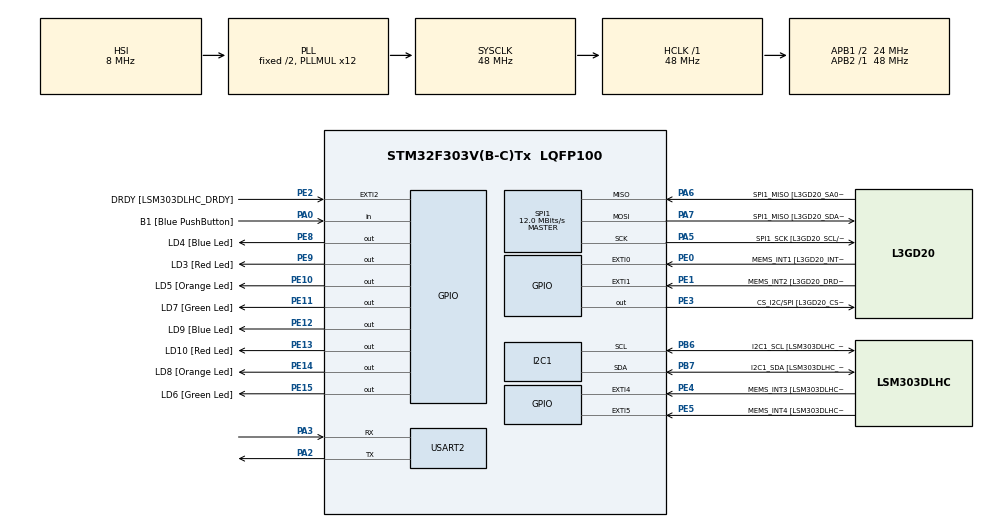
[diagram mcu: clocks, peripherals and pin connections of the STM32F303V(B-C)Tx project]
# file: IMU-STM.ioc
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Mcu.Family=STM32F3
Mcu.Name=STM32F303V(B-C)Tx
Mcu.Package=LQFP100
NVIC.PriorityGroup=NVIC_PRIORITYGROUP_0
NVIC.USART2_IRQn=true\:0\:0\:false\:false\:true\:true\:true
PA0.GPIO_Label=B1 [Blue PushButton]
PA0.GPIO_Mode=GPIO_MODE_INPUT
PA0.GPIO_PuPd=GPIO_NOPULL
PA0.Signal=GPIO_Input
PA11.GPIO_Label=DM
PA11.Signal=USB_DM
PA12.GPIO_Label=DP
PA12.Signal=USB_DP
PA13.GPIO_Label=SWDIO
PA13.Signal=SYS_JTMS-SWDIO
PA14.GPIO_Label=SWCLK
PA14.Signal=SYS_JTCK-SWCLK
PA2.Mode=Asynchronous
PA2.Signal=USART2_TX
PA3.Mode=Asynchronous
PA3.Signal=USART2_RX
PA5.GPIO_Label=SPI1_SCK [L3GD20_SCL/SPC]
PA5.GPIO_Mode=GPIO_MODE_AF_PP
PA5.GPIO_PuPd=GPIO_NOPULL
PA5.GPIO_Speed=GPIO_SPEED_FREQ_LOW
PA5.Mode=Full_Duplex_Master
PA5.Signal=SPI1_SCK
PA6.GPIO_Label=SPI1_MISO [L3GD20_SA0/SDO]
PA6.GPIO_Mode=GPIO_MODE_AF_PP
PA6.GPIO_PuPd=GPIO_NOPULL
PA6.GPIO_Speed=GPIO_SPEED_FREQ_LOW
PA6.Mode=Full_Duplex_Master
PA6.Signal=SPI1_MISO
PA7.GPIO_Label=SPI1_MISO [L3GD20_SDA/SDI/SDO]
PA7.GPIO_Mode=GPIO_MODE_AF_PP
PA7.GPIO_PuPd=GPIO_NOPULL
PA7.GPIO_Speed=GPIO_SPEED_FREQ_LOW
PA7.Mode=Full_Duplex_Master
PA7.Signal=SPI1_MOSI
PB3.GPIO_Label=SWO
PB3.Signal=SYS_JTDO-TRACESWO
PB6.GPIO_FM6=__NULL
PB6.GPIO_Label=I2C1_SCL [LSM303DLHC_SCL]
PB6.GPIO_Mode=GPIO_MODE_AF_OD
PB6.GPIO_PuPd=GPIO_NOPULL
PB6.GPIO_Speed=GPIO_SPEED_FREQ_LOW
PB6.Mode=I2C
PB6.Signal=I2C1_SCL
PB7.GPIO_FM7=__NULL
PB7.GPIO_Label=I2C1_SDA [LSM303DLHC_SDA]
PB7.GPIO_Mode=GPIO_MODE_AF_OD
PB7.GPIO_PuPd=GPIO_NOPULL
PB7.GPIO_Speed=GPIO_SPEED_FREQ_LOW
PB7.Mode=I2C
PB7.Signal=I2C1_SDA
PC14-OSC32_IN.GPIO_Label=OSC32_IN
PC14-OSC32_IN.Signal=RCC_OSC32_IN
PC15-OSC32_OUT.GPIO_Label=OSC32_OUT
PC15-OSC32_OUT.Signal=RCC_OSC32_OUT
PE0.GPIO_Label=MEMS_INT1 [L3GD20_INT1]
PE0.GPIO_ModeDefaultEXTI=GPIO_MODE_EVT_RISING
PE0.GPIO_PuPd=GPIO_NOPULL
PE0.Signal=GPXTI0
PE1.GPIO_Label=MEMS_INT2 [L3GD20_DRDY/INT2]
PE1.GPIO_ModeDefaultEXTI=GPIO_MODE_EVT_RISING
PE1.GPIO_PuPd=GPIO_NOPULL
PE1.Signal=GPXTI1
PE10.GPIO_Label=LD5 [Orange Led]
PE10.GPIO_ModeDefaultOutputPP=GPIO_MODE_OUTPUT_PP
PE10.GPIO_PuPd=GPIO_NOPULL
PE10.GPIO_Speed=GPIO_SPEED_FREQ_LOW
PE10.Signal=GPIO_Output
PE11.GPIO_Label=LD7 [Green Led]
PE11.GPIO_ModeDefaultOutputPP=GPIO_MODE_OUTPUT_PP
PE11.GPIO_PuPd=GPIO_NOPULL
PE11.GPIO_Speed=GPIO_SPEED_FREQ_LOW
PE11.Signal=GPIO_Output
PE12.GPIO_Label=LD9 [Blue Led]
PE12.GPIO_ModeDefaultOutputPP=GPIO_MODE_OUTPUT_PP
PE12.GPIO_PuPd=GPIO_NOPULL
PE12.GPIO_Speed=GPIO_SPEED_FREQ_LOW
PE12.Signal=GPIO_Output
PE13.GPIO_Label=LD10 [Red Led]
PE13.GPIO_ModeDefaultOutputPP=GPIO_MODE_OUTPUT_PP
PE13.GPIO_PuPd=GPIO_NOPULL
PE13.GPIO_Speed=GPIO_SPEED_FREQ_LOW
PE13.Signal=GPIO_Output
PE14.GPIO_Label=LD8 [Orange Led]
PE14.GPIO_ModeDefaultOutputPP=GPIO_MODE_OUTPUT_PP
PE14.GPIO_PuPd=GPIO_NOPULL
PE14.GPIO_Speed=GPIO_SPEED_FREQ_LOW
PE14.Signal=GPIO_Output
PE15.GPIO_Label=LD6 [Green Led]
PE15.GPIO_ModeDefaultOutputPP=GPIO_MODE_OUTPUT_PP
PE15.GPIO_PuPd=GPIO_NOPULL
PE15.GPIO_Speed=GPIO_SPEED_FREQ_LOW
PE15.Signal=GPIO_Output
PE2.GPIO_Label=DRDY [LSM303DLHC_DRDY]
PE2.GPIO_ModeDefaultEXTI=GPIO_MODE_EVT_RISING
PE2.GPIO_PuPd=GPIO_NOPULL
PE2.Signal=GPXTI2
PE3.GPIO_Label=CS_I2C/SPI [L3GD20_CS_I2C/SPI]
PE3.GPIO_ModeDefaultOutputPP=GPIO_MODE_OUTPUT_PP
PE3.GPIO_PuPd=GPIO_NOPULL
PE3.GPIO_Speed=GPIO_SPEED_FREQ_LOW
PE3.Signal=GPIO_Output
PE4.GPIO_Label=MEMS_INT3 [LSM303DLHC_INT1]
PE4.GPIO_ModeDefaultEXTI=GPIO_MODE_EVT_RISING
PE4.GPIO_PuPd=GPIO_NOPULL
PE4.Signal=GPXTI4
PE5.GPIO_Label=MEMS_INT4 [LSM303DLHC_INT2]
PE5.GPIO_ModeDefaultEXTI=GPIO_MODE_EVT_RISING
PE5.GPIO_PuPd=GPIO_NOPULL
PE5.Signal=GPXTI5
PE8.GPIO_Label=LD4 [Blue Led]
PE8.GPIO_ModeDefaultOutputPP=GPIO_MODE_OUTPUT_PP
PE8.GPIO_PuPd=GPIO_NOPULL
PE8.GPIO_Speed=GPIO_SPEED_FREQ_LOW
PE8.Signal=GPIO_Output
PE9.GPIO_Label=LD3 [Red Led]
PE9.GPIO_ModeDefaultOutputPP=GPIO_MODE_OUTPUT_PP
PE9.GPIO_PuPd=GPIO_NOPULL
PE9.GPIO_Speed=GPIO_SPEED_FREQ_LOW
PE9.Signal=GPIO_Output
PF0-OSC_IN.GPIO_Label=OSC_IN
PF0-OSC_IN.Signal=RCC_OSC_IN
PF1-OSC_OUT.GPIO_Label=OSC_OUT
PF1-OSC_OUT.Signal=RCC_OSC_OUT
ProjectManager.HeapSize=0x200
ProjectManager.StackSize=0x400
ProjectManager.TargetToolchain=STM32CubeIDE
RCC.AHBFreq_Value=48000000
RCC.APB1CLKDivider=RCC_HCLK_DIV2
RCC.APB1Freq_Value=24000000
RCC.APB1TimFreq_Value=48000000
RCC.APB2Freq_Value=48000000
RCC.APB2TimFreq_Value=48000000
RCC.CortexFreq_Value=48000000
RCC.HCLKFreq_Value=48000000
RCC.HSE_VALUE=8000000
RCC.HSI_VALUE=8000000
RCC.LSE_VALUE=32768
RCC.PLLMUL=RCC_PLL_MUL12
RCC.SYSCLKFreq_VALUE=48000000
RCC.SYSCLKSourceVirtual=RCC_SYSCLKSOURCE_PLLCLK
RCC.USBFreq_Value=48000000
SPI1.BaudRatePrescaler=SPI_BAUDRATEPRESCALER_4
SPI1.CLKPhase=SPI_PHASE_2EDGE
SPI1.CLKPolarity=SPI_POLARITY_HIGH
SPI1.CalculateBaudRate=12.0 MBits/s
SPI1.DataSize=SPI_DATASIZE_8BIT
SPI1.Direction=SPI_DIRECTION_2LINES
SPI1.Mode=SPI_MODE_MASTER
SPI1.VirtualType=VM_MASTER
USART2.Parity=PARITY_NONE
USART2.StopBits=STOPBITS_2
USART2.VirtualMode-Asynchronous=VM_ASYNC
USART2.WordLength=WORDLENGTH_8B
board=STM32F3DISCOVERY

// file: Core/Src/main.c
/* USER CODE BEGIN Header */
/**
  ******************************************************************************
  * @file           : main.c
  * @brief          : Main program body
  ******************************************************************************
  * @attention
  *
  * <h2><center>&copy; Copyright (c) 2021 STMicroelectronics.
  * All rights reserved.</center></h2>
  *
  * This software component is licensed by ST under BSD 3-Clause license,
  * the "License"; You may not use this file except in compliance with the
  * License. You may obtain a copy of the License at:
  *                        opensource.org/licenses/BSD-3-Clause
  *
  ******************************************************************************
  */
/* USER CODE END Header */
#include "main.h"
#include "i2c.h"
#include "spi.h"
#include "usart.h"
#include "gpio.h"

/* USER CODE BEGIN Includes */
#include "BiasRemover.h"
#include "L3GD20.h"
#include "LSM303DLHC.h"
#include "string.h"
/* USER CODE END Includes */

void SystemClock_Config(void);

/* USER CODE BEGIN 0 */
L3GD20_Values gyro, gyroBias;
LSM303DLHC_ACC_Values acc, accBias;
LSM303DLHC_MAG_Values mag, magBias;
uint32_t dt = 0;

void PrintData(L3GD20_Values *gyroBias,
		LSM303DLHC_ACC_Values *acc, LSM303DLHC_MAG_Values *mag) {
	char buff[256];

	int i = snprintf(buff, 120, "%.2f\t%.2f\t%.2f\t", gyroBias->X, gyroBias->Y,
			gyroBias->Z);

	HAL_UART_Transmit(&huart2, (uint8_t*) &buff, i, 100);

	i = snprintf(buff, 120, "%.4f\t%.4f\t%.4f\t", acc->X, acc->Y, acc->Z);

	HAL_UART_Transmit(&huart2, (uint8_t*) &buff, i, 100);

	i = snprintf(buff, 120, "%.4f\t%.4f\t%.4f\r\n", mag->X, mag->Y, mag->Z);

	HAL_UART_Transmit(&huart2, (uint8_t*) &buff, i, 100);
}

/* USER CODE END 0 */

int main(void)
{

  /* MCU Configuration--------------------------------------------------------*/

  /* Reset of all peripherals, Initializes the Flash interface and the Systick. */
  HAL_Init();

  /* Configure the system clock */
  SystemClock_Config();

  /* Initialize all configured peripherals */
  MX_GPIO_Init();
  MX_I2C1_Init();
  MX_SPI1_Init();
  MX_USART2_UART_Init();
  /* USER CODE BEGIN 2 */
  __HAL_UART_ENABLE_IT(&huart2, UART_IT_IDLE);

  L3GD20_Sensitivity sensitivity = L3DS20_SENSITIVITY_500DPS;
  L3GD20_Init(sensitivity, &hspi1);
  L3GD20_Reboot();

  uint8_t ID = L3GD20_ReadID();

  if (ID != 0xD4) {
	  HAL_GPIO_WritePin(LD3_GPIO_Port, LD3_Pin, GPIO_PIN_SET);
  }

  LSM303DLHC_Init(&hi2c1);
  LSM303DLHC_Reboot();

  BiasRemover_Init(100);
  /* USER CODE END 2 */

  /* Infinite loop */
  /* USER CODE BEGIN WHILE */
  while (1)
  {

	  if (HAL_GetTick() - dt > 20) {
		  dt = HAL_GetTick();
		  L3GD20_ReadValues(&gyro);
		  LSM303DLHC_GetValues(&acc, &mag);

		  if (!BiasRemover_Finished())
		  {
			  BiasRemover_Get(acc, mag, gyro);
		  }
		  else
		  {
			  BiasRemover_Remove(&acc, &mag, &gyro);
			  BiasRemover_GetValues(&accBias, &magBias, &gyroBias);
			  PrintData(&gyro, &acc, &mag);
		  }
	  }

    /* USER CODE END WHILE */

  }
}

void SystemClock_Config(void)
{
  RCC_OscInitTypeDef RCC_OscInitStruct = {0};
  RCC_ClkInitTypeDef RCC_ClkInitStruct = {0};
  RCC_PeriphCLKInitTypeDef PeriphClkInit = {0};

  /** Initializes the RCC Oscillators according to the specified parameters
  * in the RCC_OscInitTypeDef structure.
  */
  RCC_OscInitStruct.OscillatorType = RCC_OSCILLATORTYPE_HSI;
  RCC_OscInitStruct.HSIState = RCC_HSI_ON;
  RCC_OscInitStruct.HSICalibrationValue = RCC_HSICALIBRATION_DEFAULT;
  RCC_OscInitStruct.PLL.PLLState = RCC_PLL_ON;
  RCC_OscInitStruct.PLL.PLLSource = RCC_PLLSOURCE_HSI;
  RCC_OscInitStruct.PLL.PLLMUL = RCC_PLL_MUL12;
  if (HAL_RCC_OscConfig(&RCC_OscInitStruct) != HAL_OK)
  {
    Error_Handler();
  }
  /** Initializes the CPU, AHB and APB buses clocks
  */
  RCC_ClkInitStruct.ClockType = RCC_CLOCKTYPE_HCLK|RCC_CLOCKTYPE_SYSCLK
                              |RCC_CLOCKTYPE_PCLK1|RCC_CLOCKTYPE_PCLK2;
  RCC_ClkInitStruct.SYSCLKSource = RCC_SYSCLKSOURCE_PLLCLK;
  RCC_ClkInitStruct.AHBCLKDivider = RCC_SYSCLK_DIV1;
  RCC_ClkInitStruct.APB1CLKDivider = RCC_HCLK_DIV2;
  RCC_ClkInitStruct.APB2CLKDivider = RCC_HCLK_DIV1;

  if (HAL_RCC_ClockConfig(&RCC_ClkInitStruct, FLASH_LATENCY_1) != HAL_OK)
  {
    Error_Handler();
  }
  PeriphClkInit.PeriphClockSelection = RCC_PERIPHCLK_USART2|RCC_PERIPHCLK_I2C1;
  PeriphClkInit.Usart2ClockSelection = RCC_USART2CLKSOURCE_PCLK1;
  PeriphClkInit.I2c1ClockSelection = RCC_I2C1CLKSOURCE_HSI;
  if (HAL_RCCEx_PeriphCLKConfig(&PeriphClkInit) != HAL_OK)
  {
    Error_Handler();
  }
}

/* USER CODE BEGIN 4 */
void HAL_UART_TxCpltCallback(UART_HandleTypeDef *huart)
{

}
void HAL_UART_RxCpltCallback(UART_HandleTypeDef *huart)
{

}
/* USER CODE END 4 */

void Error_Handler(void)
{
  __disable_irq();
  while (1)
  {
  }
}

/************************ (C) COPYRIGHT STMicroelectronics *****END OF FILE****/
